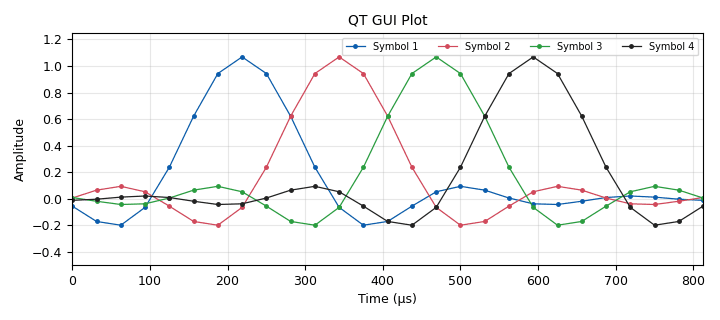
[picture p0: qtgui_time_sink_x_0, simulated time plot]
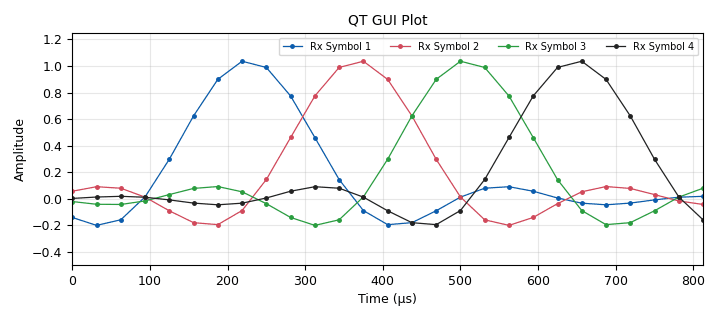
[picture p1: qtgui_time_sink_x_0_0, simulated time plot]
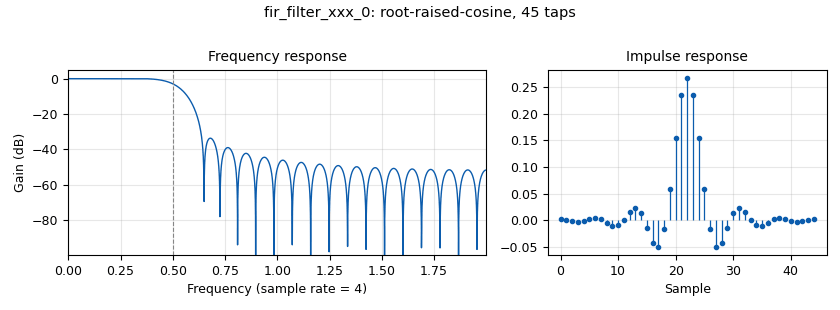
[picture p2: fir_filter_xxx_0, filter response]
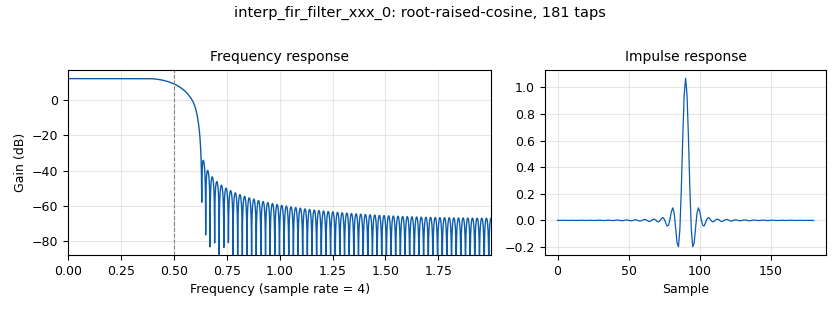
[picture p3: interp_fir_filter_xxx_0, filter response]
options:
  parameters:
    category: Custom
    generate_options: qt_gui
    id: symbol_sampling_diff
    output_language: python
  states: {}

blocks:
- name: eb
  id: variable
  parameters:
    value: '0.25'
  states: {}
- name: ntaps
  id: variable
  parameters:
    value: '45'
  states: {}
- name: rate
  id: variable
  parameters:
    value: '1.125'
  states: {}
- name: rrc_rx
  id: variable
  parameters:
    value: firdes.root_raised_cosine(1, sps, 1, eb, ntaps)
  states: {}
- name: rrc_tx
  id: variable
  parameters:
    value: firdes.root_raised_cosine(sps, sps, 1, eb, sps*ntaps)
  states: {}
- name: samp_rate
  id: variable
  parameters:
    value: '32000'
  states: {}
- name: sps
  id: variable
  parameters:
    value: '4'
  states: {}
- name: blocks_throttle_0
  id: blocks_throttle
  parameters:
    samples_per_second: samp_rate
    type: float
  states: {}
- name: blocks_throttle_0_0
  id: blocks_throttle
  parameters:
    samples_per_second: samp_rate
    type: float
  states: {}
- name: blocks_throttle_0_0_0
  id: blocks_throttle
  parameters:
    samples_per_second: samp_rate
    type: float
  states: {}
- name: blocks_throttle_0_1
  id: blocks_throttle
  parameters:
    samples_per_second: samp_rate
    type: float
  states: {}
- name: blocks_vector_source_x_0
  id: blocks_vector_source_x
  parameters:
    repeat: 'True'
    type: float
    vector: 49*[0,] + [1,] + 50*[0,]
  states: {}
- name: blocks_vector_source_x_0_0
  id: blocks_vector_source_x
  parameters:
    repeat: 'True'
    type: float
    vector: 50*[0,] + [1,] + 49*[0,]
  states: {}
- name: blocks_vector_source_x_0_0_0
  id: blocks_vector_source_x
  parameters:
    repeat: 'True'
    type: float
    vector: 52*[0,] + [1,] + 47*[0,]
  states: {}
- name: blocks_vector_source_x_0_1
  id: blocks_vector_source_x
  parameters:
    repeat: 'True'
    type: float
    vector: 51*[0,] + [1,] + 48*[0,]
  states: {}
- name: fir_filter_xxx_0
  id: fir_filter_xxx
  parameters:
    decim: '1'
    taps: rrc_rx
    type: fff
  states: {}
- name: fir_filter_xxx_0_0
  id: fir_filter_xxx
  parameters:
    decim: '1'
    taps: rrc_rx
    type: fff
  states: {}
- name: fir_filter_xxx_0_0_0
  id: fir_filter_xxx
  parameters:
    decim: '1'
    taps: rrc_rx
    type: fff
  states: {}
- name: fir_filter_xxx_0_1
  id: fir_filter_xxx
  parameters:
    decim: '1'
    taps: rrc_rx
    type: fff
  states: {}
- name: interp_fir_filter_xxx_0
  id: interp_fir_filter_xxx
  parameters:
    interp: sps
    taps: rrc_tx
    type: fff
  states: {}
- name: interp_fir_filter_xxx_0_0
  id: interp_fir_filter_xxx
  parameters:
    interp: sps
    taps: rrc_tx
    type: fff
  states: {}
- name: interp_fir_filter_xxx_0_0_0
  id: interp_fir_filter_xxx
  parameters:
    interp: sps
    taps: rrc_tx
    type: fff
  states: {}
- name: interp_fir_filter_xxx_0_1
  id: interp_fir_filter_xxx
  parameters:
    interp: sps
    taps: rrc_tx
    type: fff
  states: {}
- name: pfb_arb_resampler_xxx_0
  id: pfb_arb_resampler_xxx
  parameters:
    atten: '100'
    nfilts: '32'
    rrate: rate
    type: fff
  states: {}
- name: pfb_arb_resampler_xxx_0_0
  id: pfb_arb_resampler_xxx
  parameters:
    atten: '100'
    nfilts: '32'
    rrate: rate
    type: fff
  states: {}
- name: pfb_arb_resampler_xxx_0_0_0
  id: pfb_arb_resampler_xxx
  parameters:
    atten: '100'
    nfilts: '32'
    rrate: rate
    type: fff
  states: {}
- name: pfb_arb_resampler_xxx_0_0_1
  id: pfb_arb_resampler_xxx
  parameters:
    atten: '100'
    nfilts: '32'
    rrate: rate
    type: fff
  states: {}
- name: qtgui_time_sink_x_0
  id: qtgui_time_sink_x
  parameters:
    gui_hint: 0,0,1,1
    label1: Symbol 1
    label2: Symbol 2
    label3: Symbol 3
    label4: Symbol 4
    marker1: '0'
    marker2: '0'
    marker3: '0'
    marker4: '0'
    name: QT GUI Plot
    nconnections: '4'
    size: '27'
    srate: samp_rate
    tr_delay: '0.0002'
    tr_level: '0.99'
    tr_mode: qtgui.TRIG_MODE_NORM
    type: float
    update_time: '0.01'
    width1: '2'
    width2: '2'
    width3: '2'
    width4: '2'
    ymax: '1.25'
    ymin: '-0.5'
  states: {}
- name: qtgui_time_sink_x_0_0
  id: qtgui_time_sink_x
  parameters:
    gui_hint: 0,1,1,1
    label1: Rx Symbol 1
    label2: Rx Symbol 2
    label3: Rx Symbol 3
    label4: Rx Symbol 4
    marker1: '0'
    marker2: '0'
    marker3: '0'
    marker4: '0'
    name: QT GUI Plot
    nconnections: '4'
    size: '27'
    srate: samp_rate
    tr_delay: '0.0002'
    tr_level: '0.9'
    tr_mode: qtgui.TRIG_MODE_NORM
    type: float
    update_time: '0.01'
    width1: '2'
    width2: '2'
    width3: '2'
    width4: '2'
    ymax: '1.25'
    ymin: '-0.5'
  states: {}

connections:
- [blocks_throttle_0, '0', interp_fir_filter_xxx_0, '0']
- [blocks_throttle_0_0, '0', interp_fir_filter_xxx_0_0, '0']
- [blocks_throttle_0_0_0, '0', interp_fir_filter_xxx_0_0_0, '0']
- [blocks_throttle_0_1, '0', interp_fir_filter_xxx_0_1, '0']
- [blocks_vector_source_x_0, '0', blocks_throttle_0, '0']
- [blocks_vector_source_x_0_0, '0', blocks_throttle_0_0, '0']
- [blocks_vector_source_x_0_0_0, '0', blocks_throttle_0_0_0, '0']
- [blocks_vector_source_x_0_1, '0', blocks_throttle_0_1, '0']
- [fir_filter_xxx_0, '0', qtgui_time_sink_x_0_0, '0']
- [fir_filter_xxx_0_0, '0', qtgui_time_sink_x_0_0, '1']
- [fir_filter_xxx_0_0_0, '0', qtgui_time_sink_x_0_0, '3']
- [fir_filter_xxx_0_1, '0', qtgui_time_sink_x_0_0, '2']
- [interp_fir_filter_xxx_0, '0', pfb_arb_resampler_xxx_0, '0']
- [interp_fir_filter_xxx_0, '0', qtgui_time_sink_x_0, '0']
- [interp_fir_filter_xxx_0_0, '0', pfb_arb_resampler_xxx_0_0, '0']
- [interp_fir_filter_xxx_0_0, '0', qtgui_time_sink_x_0, '1']
- [interp_fir_filter_xxx_0_0_0, '0', pfb_arb_resampler_xxx_0_0_1, '0']
- [interp_fir_filter_xxx_0_0_0, '0', qtgui_time_sink_x_0, '3']
- [interp_fir_filter_xxx_0_1, '0', pfb_arb_resampler_xxx_0_0_0, '0']
- [interp_fir_filter_xxx_0_1, '0', qtgui_time_sink_x_0, '2']
- [pfb_arb_resampler_xxx_0, '0', fir_filter_xxx_0, '0']
- [pfb_arb_resampler_xxx_0_0, '0', fir_filter_xxx_0_0, '0']
- [pfb_arb_resampler_xxx_0_0_0, '0', fir_filter_xxx_0_1, '0']
- [pfb_arb_resampler_xxx_0_0_1, '0', fir_filter_xxx_0_0_0, '0']

metadata:
  file_format: 1
